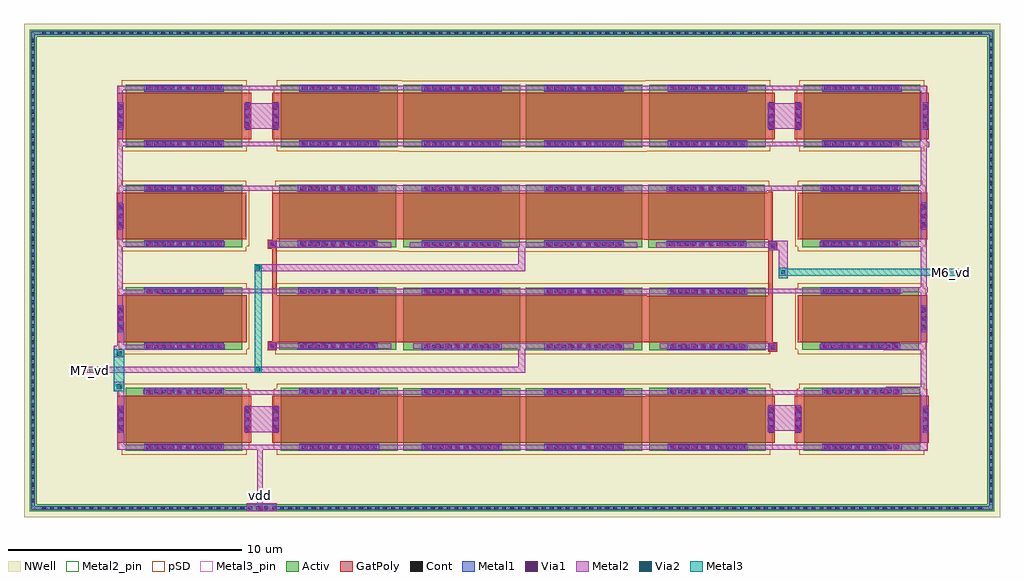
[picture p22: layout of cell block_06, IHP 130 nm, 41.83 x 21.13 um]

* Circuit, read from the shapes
.subckt block_06 M6_vd M7_vd vdd
XM1 vdd vdd vdd vdd sg13_lv_pmos w=5u l=2u m=16
XM2 vdd M6_vd M6_vd vdd sg13_lv_pmos w=5u l=2u m=4
XM3 vdd M6_vd M7_vd vdd sg13_lv_pmos w=5u l=2u m=4
.ends

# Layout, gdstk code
from math import pi, radians
import gdstk
lib = gdstk.Library(unit=1e-6, precision=1e-09)
def R(c, l, rs):  # rectangles x0, y0, x1, y1
    for r in rs: c.add(gdstk.rectangle(r[:2], r[2:], *l))
def A(c, l, x, y, w, h, nx, ny, dx, dy):  # array of equal rectangles
    R(c, l, [(x+i*dx, y+j*dy, x+i*dx+w, y+j*dy+h) for i in range(nx) for j in range(ny)])
Activ = (1, 0)
GatPoly = (5, 0)
Cont = (6, 0)
Metal1 = (8, 0)
Metal2 = (10, 0)
Metal2_pin = (10, 2)
pSD = (14, 0)
Via1 = (19, 0)
Via2 = (29, 0)
Metal3 = (30, 0)
Metal3_pin = (30, 2)
NWell = (31, 0)

sg13_lv_pmos_j2dqzd = lib.new_cell('sg13_lv_pmos_J2DQZD')
R(sg13_lv_pmos_j2dqzd, Activ, [(-1.34,-2.5,1.34,2.5)])
R(sg13_lv_pmos_j2dqzd, GatPoly, [(-1,-2.87,1,2.87)])
A(sg13_lv_pmos_j2dqzd, Cont, -0.42, -2.8, 0.16, 0.16, 3, 2, 0.34, 5.44)
A(sg13_lv_pmos_j2dqzd, Cont, -1.27, -1.61, 0.16, 0.16, 1, 10, 0, 0.34)
A(sg13_lv_pmos_j2dqzd, Cont, 1.11, -1.61, 0.16, 0.16, 1, 10, 0, 0.34)
R(sg13_lv_pmos_j2dqzd, Metal1, [(-0.585,-2.825,0.585,-2.615), (-1.34,-1.705,-1.04,1.705), (1.04,-1.705,1.34,1.705), (-0.585,2.615,0.585,2.825)])
R(sg13_lv_pmos_j2dqzd, Metal2, [(-0.535,-2.865,0.535,-2.575), (-1.29,-1.745,-1.09,1.745), (1.09,-1.745,1.29,1.745), (-0.535,2.575,0.535,2.865)])
R(sg13_lv_pmos_j2dqzd, pSD, [(-1.3,-2.8,1.3,-2.68), (-1.52,-2.68,1.52,2.68), (-1.3,2.68,1.3,2.8)])
A(sg13_lv_pmos_j2dqzd, Via1, -0.505, -2.815, 0.19, 0.19, 3, 2, 0.41, 5.44)
A(sg13_lv_pmos_j2dqzd, Via1, -1.285, -1.53, 0.19, 0.19, 1, 8, 0, 0.41)
A(sg13_lv_pmos_j2dqzd, Via1, 1.095, -1.53, 0.19, 0.19, 1, 8, 0, 0.41)
R(sg13_lv_pmos_j2dqzd, NWell, [(-1.65,-2.81,1.65,2.81)])
sg13_lv_pmos_j2dqzd.add(gdstk.Label('D', (-1.19,0), layer=8, texttype=25))
sg13_lv_pmos_j2dqzd.add(gdstk.Label('S', (1.19,0), layer=8, texttype=25))
sg13_lv_pmos_j2dqzd.add(gdstk.Label('G', (0,2.72), layer=8, texttype=25))

sg13_lv_pmos_j2dyzd = lib.new_cell('sg13_lv_pmos_J2DYZD')
R(sg13_lv_pmos_j2dyzd, Activ, [(-1.34,-2.405,1.34,2.595)])
R(sg13_lv_pmos_j2dyzd, GatPoly, [(-1,-2.775,1,2.775)])
A(sg13_lv_pmos_j2dyzd, Cont, -0.42, -2.705, 0.16, 0.16, 3, 1, 0.34, 0)
A(sg13_lv_pmos_j2dyzd, Cont, -1.27, -1.515, 0.16, 0.16, 1, 10, 0, 0.34)
A(sg13_lv_pmos_j2dyzd, Cont, 1.11, -1.515, 0.16, 0.16, 1, 10, 0, 0.34)
R(sg13_lv_pmos_j2dyzd, Metal1, [(-0.585,-2.73,0.585,-2.52), (-1.34,-1.61,-1.04,1.8), (1.04,-1.61,1.34,1.8)])
R(sg13_lv_pmos_j2dyzd, Metal2, [(-0.535,-2.77,0.535,-2.48), (-1.29,-1.65,-1.09,1.84), (1.09,-1.65,1.29,1.84)])
R(sg13_lv_pmos_j2dyzd, pSD, [(-1.3,-2.705,1.3,-2.585), (-1.52,-2.585,1.52,2.775), (-1.3,2.775,1.3,2.895)])
A(sg13_lv_pmos_j2dyzd, Via1, -0.505, -2.72, 0.19, 0.19, 3, 1, 0.41, 0)
A(sg13_lv_pmos_j2dyzd, Via1, -1.285, -1.435, 0.19, 0.19, 1, 8, 0, 0.41)
A(sg13_lv_pmos_j2dyzd, Via1, 1.095, -1.435, 0.19, 0.19, 1, 8, 0, 0.41)
R(sg13_lv_pmos_j2dyzd, NWell, [(-1.65,-2.715,1.65,2.905)])
sg13_lv_pmos_j2dyzd.add(gdstk.Label('D', (-1.19,0.095), layer=8, texttype=25))
sg13_lv_pmos_j2dyzd.add(gdstk.Label('S', (1.19,0.095), layer=8, texttype=25))
sg13_lv_pmos_j2dyzd.add(gdstk.Label('G', (0,-2.625), layer=8, texttype=25))

sg13_lv_pmos_j2vszd = lib.new_cell('sg13_lv_pmos_J2VSZD')
R(sg13_lv_pmos_j2vszd, Activ, [(-1.34,-2.5,1.34,2.5)])
R(sg13_lv_pmos_j2vszd, GatPoly, [(-1,-2.68,1,2.68)])
A(sg13_lv_pmos_j2vszd, Cont, -1.27, -1.61, 0.16, 0.16, 1, 10, 0, 0.34)
A(sg13_lv_pmos_j2vszd, Cont, 1.11, -1.61, 0.16, 0.16, 1, 10, 0, 0.34)
R(sg13_lv_pmos_j2vszd, Metal1, [(-1.34,-1.705,-1.04,1.705), (1.04,-1.705,1.34,1.705)])
R(sg13_lv_pmos_j2vszd, Metal2, [(-1.29,-1.745,-1.09,1.745), (1.09,-1.745,1.29,1.745)])
R(sg13_lv_pmos_j2vszd, pSD, [(-1.3,-2.8,1.3,-2.68), (-1.52,-2.68,1.52,2.68), (-1.3,2.68,1.3,2.8)])
A(sg13_lv_pmos_j2vszd, Via1, -1.285, -1.53, 0.19, 0.19, 1, 8, 0, 0.41)
A(sg13_lv_pmos_j2vszd, Via1, 1.095, -1.53, 0.19, 0.19, 1, 8, 0, 0.41)
R(sg13_lv_pmos_j2vszd, NWell, [(-1.65,-2.81,1.65,2.81)])
sg13_lv_pmos_j2vszd.add(gdstk.Label('D', (-1.19,0), layer=8, texttype=25))
sg13_lv_pmos_j2vszd.add(gdstk.Label('S', (1.19,0), layer=8, texttype=25))

sg13_lv_pmos_j2vj4e = lib.new_cell('sg13_lv_pmos_J2VJ4E')
R(sg13_lv_pmos_j2vj4e, Activ, [(-1.34,-2.595,1.34,2.405)])
R(sg13_lv_pmos_j2vj4e, GatPoly, [(-1,-2.775,1,2.775)])
A(sg13_lv_pmos_j2vj4e, Cont, -1.27, -1.705, 0.16, 0.16, 1, 10, 0, 0.34)
A(sg13_lv_pmos_j2vj4e, Cont, 1.11, -1.705, 0.16, 0.16, 1, 10, 0, 0.34)
A(sg13_lv_pmos_j2vj4e, Cont, -0.42, 2.545, 0.16, 0.16, 3, 1, 0.34, 0)
R(sg13_lv_pmos_j2vj4e, Metal1, [(-1.34,-1.8,-1.04,1.61), (1.04,-1.8,1.34,1.61), (-0.585,2.52,0.585,2.73)])
R(sg13_lv_pmos_j2vj4e, Metal2, [(-1.29,-1.84,-1.09,1.65), (1.09,-1.84,1.29,1.65), (-0.535,2.48,0.535,2.77)])
R(sg13_lv_pmos_j2vj4e, pSD, [(-1.3,-2.895,1.3,-2.775), (-1.52,-2.775,1.52,2.585), (-1.3,2.585,1.3,2.705)])
A(sg13_lv_pmos_j2vj4e, Via1, -1.285, -1.625, 0.19, 0.19, 1, 8, 0, 0.41)
A(sg13_lv_pmos_j2vj4e, Via1, 1.095, -1.625, 0.19, 0.19, 1, 8, 0, 0.41)
A(sg13_lv_pmos_j2vj4e, Via1, -0.505, 2.53, 0.19, 0.19, 3, 1, 0.41, 0)
R(sg13_lv_pmos_j2vj4e, NWell, [(-1.65,-2.905,1.65,2.715)])
sg13_lv_pmos_j2vj4e.add(gdstk.Label('D', (-1.19,-0.095), layer=8, texttype=25))
sg13_lv_pmos_j2vj4e.add(gdstk.Label('S', (1.19,-0.095), layer=8, texttype=25))
sg13_lv_pmos_j2vj4e.add(gdstk.Label('G', (0,2.625), layer=8, texttype=25))

block_06 = lib.new_cell('block_06')
R(block_06, Activ, [(-10.4,-11.8,30.95,-11.5), (-10.4,-11.5,-10.1,8.55), (30.65,-11.5,30.95,8.55), (-10.4,8.55,30.95,8.85)])
R(block_06, GatPoly, [(21.25,-4.95,21.65,-4.55), (-0.2,-4.9,0.2,-4.5), (21.25,-4.55,21.45,-0.6), (0,-4.5,0.2,-0.55), (21.25,-0.6,21.65,-0.2), (-0.2,-0.55,0.2,-0.15), (21.25,-0.2,21.45,1.9), (0,-0.15,0.2,1.85)])
A(block_06, Cont, -9.865, -11.73, 0.16, 0.16, 119, 2, 0.34, 20.35)
A(block_06, Cont, -10.33, -11.415, 0.16, 0.16, 1, 59, 0, 0.34)
A(block_06, Cont, 30.72, -11.415, 0.16, 0.16, 1, 59, 0, 0.34)
R(block_06, Cont, [(21.37,-4.83,21.53,-4.67), (-0.08,-4.78,0.08,-4.62), (21.37,-0.48,21.53,-0.32), (-0.08,-0.43,0.08,-0.27)])
R(block_06, Metal1, [(-1.1,-11.8,0.2,-11.73), (-10.33,-11.73,30.88,-11.57), (-10.33,-11.57,-10.17,8.62), (-1.1,-11.57,0.2,-11.45), (30.72,-11.57,30.88,8.62), (21.3,-4.9,21.6,-4.6), (-0.15,-4.85,0.15,-4.55), (21.3,-0.55,21.6,-0.25), (-0.15,-0.5,0.15,-0.2), (-10.33,8.62,30.88,8.78)])
R(block_06, Metal2, [(-1.1,-11.8,0.2,-11.45), (-0.65,-11.45,-0.4,-9.15), (26.35,-9.2,28.1,-9.15), (-6.65,-9.15,28.1,-8.95), (-6.65,-8.95,-6.35,-6.65), (26.35,-8.95,28.1,-8.9), (27.8,-8.9,28.1,-7.65), (-1.15,-8.4,0.25,-7.3), (21.25,-8.35,22.65,-7.25), (27.8,-7.65,28.05,-6.75), (-5.5,-6.8,27,-6.75), (-5.5,-6.75,28.05,-6.6), (-6.8,-6.65,-6.35,-6.25), (26.3,-6.6,28.05,-6.45), (27.8,-6.45,28.05,-4.9), (-7.95,-5.85,10.85,-5.6), (10.55,-5.6,10.85,-4.83), (-6.8,-5.2,-6.35,-4.85), (21.3,-4.9,21.6,-4.85), (26.2,-4.9,28.05,-4.6), (-6.8,-4.85,-4.7,-4.7), (-0.15,-4.85,0.2,-4.8), (20.25,-4.85,21.6,-4.83), (1.08,-4.83,5.1,-4.8), (6.05,-4.83,15.5,-4.59), (16.6,-4.83,21.6,-4.6), (-0.15,-4.8,5.1,-4.6), (-6.65,-4.7,-4.7,-4.65), (-6.65,-4.65,-6.35,-3.7), (-0.15,-4.6,0.2,-4.55), (1.08,-4.6,5.1,-4.59), (16.6,-4.6,20.33,-4.59), (27.8,-4.6,28.05,-2.4), (-6.65,-3.7,-6.4,-2.5), (-6.65,-2.5,-4.75,-2.45), (1.04,-2.49,20.29,-2.45), (-6.65,-2.45,27,-2.4), (-6.65,-2.4,28.1,-2.3), (-6.65,-2.3,-6.4,-0.45), (-5.5,-2.3,28.1,-2.25), (26.1,-2.25,28.1,-2.2), (27.8,-2.2,28.05,-0.45), (21.7,-1.7,22.1,-0.6), (-0.75,-1.5,10.85,-1.2), (10.55,-1.2,10.85,-0.51), (21.25,-0.6,22.1,-0.5), (1.3,-0.51,5.1,-0.5), (5.9,-0.51,15.65,-0.27), (16.45,-0.51,20.33,-0.5), (-0.15,-0.5,5.1,-0.27), (16.45,-0.5,22.1,-0.27), (-6.65,-0.45,-4.7,-0.25), (26.5,-0.45,28.05,-0.2), (-0.15,-0.27,1.6,-0.2), (10.55,-0.27,10.85,-0.25), (20.25,-0.27,22.1,-0.25), (-6.65,-0.25,-6.4,1.95), (21.25,-0.25,22.1,-0.2), (27.8,-0.2,28.05,1.95), (20.3,1.9,21.2,1.93), (1.06,1.93,21.2,1.95), (-6.65,1.95,28.05,2.15), (-6.65,2.15,-6.4,3.85), (1.06,2.15,20.31,2.17), (27.8,2.15,28.05,3.8), (26.6,3.8,28.15,3.85), (-6.65,3.85,28.15,4.05), (-6.65,4.05,-6.4,6.25), (27.8,4.05,28.05,6.25), (-1.15,4.6,0.25,5.7), (21.25,4.6,22.65,5.7), (-6.65,6.25,28.05,6.45)])
R(block_06, Metal2_pin, [(-0.55,-11.25,-0.5,-11), (-7.85,-5.8,-7.7,-5.7)])
R(block_06, Via1, [(-0.595,-11.745,-0.405,-11.555), (21.355,-4.845,21.545,-4.655), (-0.095,-4.795,0.095,-4.605), (21.355,-0.495,21.545,-0.305), (-0.095,-0.445,0.095,-0.255)])
R(block_06, Via2, [(-6.67,-6.545,-6.48,-6.355), (-0.695,-5.795,-0.505,-5.605), (-6.67,-5.12,-6.48,-4.93), (21.805,-1.645,21.995,-1.455), (-0.695,-1.445,-0.505,-1.255)])
R(block_06, Metal3, [(-6.8,-6.65,-6.35,-4.85), (-0.75,-5.85,-0.45,-1.2), (21.7,-1.8,22.1,-1.7), (21.7,-1.7,29.4,-1.4), (21.7,-1.4,22.1,-1.35)])
R(block_06, Metal3_pin, [(29.05,-1.6,29.2,-1.5)])
R(block_06, NWell, [(-10.64,-12.04,31.19,-4.6), (-10.64,-4.6,5.8,-4.55), (6.05,-4.6,31.19,-4.55), (-10.64,-4.55,5.1,-4.5), (5.95,-4.55,31.19,-4.5), (-10.64,-4.5,31.19,-0.55), (-10.64,-0.55,5.1,-0.2), (5.9,-0.55,31.19,-0.3), (5.9,-0.3,15.65,-0.25), (16.45,-0.3,31.19,-0.25), (5.9,-0.25,31.19,-0.2), (-10.64,-0.2,31.19,9.09)])
block_06.add(gdstk.Reference(sg13_lv_pmos_j2dqzd, (-3.78,-7.85), rotation=3*pi/2))
block_06.add(gdstk.Reference(sg13_lv_pmos_j2dyzd, (-3.875,-3.54), rotation=3*pi/2))
block_06.add(gdstk.Reference(sg13_lv_pmos_j2dyzd, (2.775,-7.85), rotation=3*pi/2))
block_06.add(gdstk.Reference(sg13_lv_pmos_j2vszd, (2.81,-3.54), rotation=3*pi/2))
block_06.add(gdstk.Reference(sg13_lv_pmos_j2vszd, (8.12,-3.545), rotation=3*pi/2))
block_06.add(gdstk.Reference(sg13_lv_pmos_j2vszd, (13.365,-3.545), rotation=3*pi/2))
block_06.add(gdstk.Reference(sg13_lv_pmos_j2vszd, (8.12,-7.855), rotation=3*pi/2))
block_06.add(gdstk.Reference(sg13_lv_pmos_j2vszd, (13.365,-7.855), rotation=3*pi/2))
block_06.add(gdstk.Reference(sg13_lv_pmos_j2vj4e, (18.755,-7.85), rotation=3*pi/2))
block_06.add(gdstk.Reference(sg13_lv_pmos_j2vszd, (18.66,-3.55), rotation=3*pi/2))
block_06.add(gdstk.Reference(sg13_lv_pmos_j2dqzd, (25.27,-7.85), rotation=3*pi/2))
block_06.add(gdstk.Reference(sg13_lv_pmos_j2vj4e, (25.305,-3.54), rotation=3*pi/2))
block_06.add(gdstk.Reference(sg13_lv_pmos_j2dyzd, (-3.88,0.86), rotation=3*pi/2))
block_06.add(gdstk.Reference(sg13_lv_pmos_j2vszd, (2.805,0.86), rotation=3*pi/2))
block_06.add(gdstk.Reference(sg13_lv_pmos_j2vszd, (8.115,0.855), rotation=3*pi/2))
block_06.add(gdstk.Reference(sg13_lv_pmos_j2vszd, (13.36,0.855), rotation=3*pi/2))
block_06.add(gdstk.Reference(sg13_lv_pmos_j2vszd, (18.61,0.85), rotation=3*pi/2))
block_06.add(gdstk.Reference(sg13_lv_pmos_j2vj4e, (25.3,0.86), rotation=3*pi/2))
block_06.add(gdstk.Reference(sg13_lv_pmos_j2dqzd, (-3.78,5.15), rotation=3*pi/2))
block_06.add(gdstk.Reference(sg13_lv_pmos_j2dyzd, (2.775,5.15), rotation=3*pi/2))
block_06.add(gdstk.Reference(sg13_lv_pmos_j2vszd, (8.12,5.145), rotation=3*pi/2))
block_06.add(gdstk.Reference(sg13_lv_pmos_j2vszd, (13.365,5.145), rotation=3*pi/2))
block_06.add(gdstk.Reference(sg13_lv_pmos_j2vj4e, (18.755,5.15), rotation=3*pi/2))
block_06.add(gdstk.Reference(sg13_lv_pmos_j2dqzd, (25.27,5.15), rotation=3*pi/2))
block_06.add(gdstk.Label('vdd', (-0.525,-11.125), layer=10, texttype=25))
block_06.add(gdstk.Label('M7_vd', (-7.775,-5.75), layer=10, texttype=25))
block_06.add(gdstk.Label('M6_vd', (29.125,-1.55), layer=30, texttype=25))

lib.write_gds('block_06.gds')
